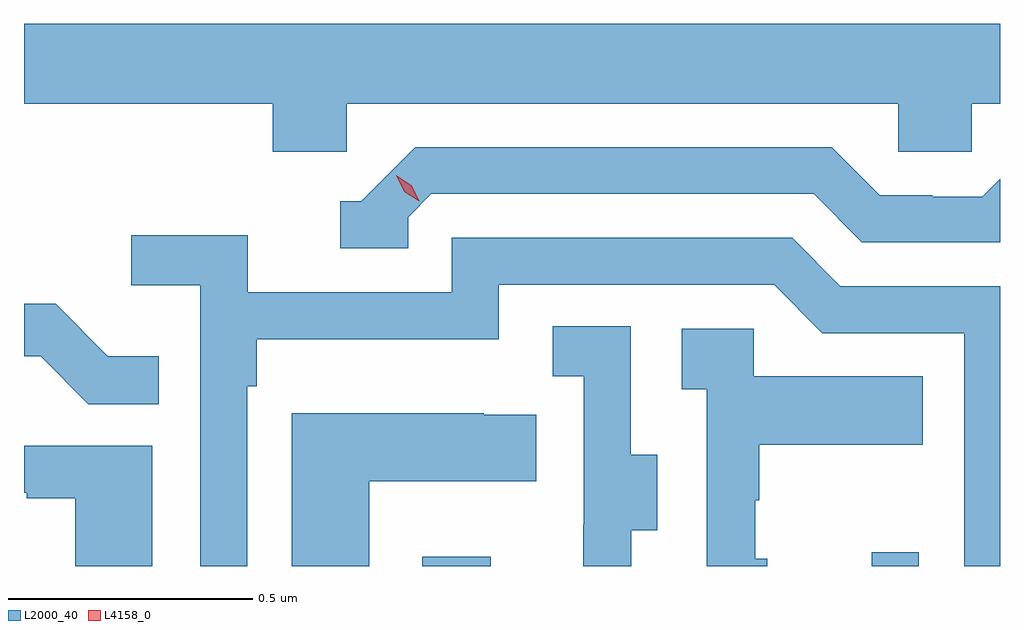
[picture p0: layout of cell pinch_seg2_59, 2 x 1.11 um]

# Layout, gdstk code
import gdstk
lib = gdstk.Library(unit=1e-6, precision=1e-09)
def R(c, l, rs):  # rectangles x0, y0, x1, y1
    for r in rs: c.add(gdstk.rectangle(r[:2], r[2:], *l))
def P(c, l, *ps):  # polygons
    for p in ps: c.add(gdstk.Polygon(p, *l))
L2000_40 = (2000, 40)
L4158_0 = (4158, 0)

pinch_seg2_59 = lib.new_cell('pinch_seg2_59')
R(pinch_seg2_59, L2000_40, [(1029.191,662.672,1029.331,662.692), (1030.112,662.672,1030.209,662.701)])
P(pinch_seg2_59, L2000_40, [(1029.036,663.62),(1030.167,663.62),(1030.167,663.522),(1030.317,663.522),(1030.317,663.62),(1030.375,663.62),(1030.375,663.784),(1028.375,663.784),(1028.375,663.62),(1028.885,663.62),(1028.885,663.522),(1029.036,663.522)],
  [(1029.162,663.387),(1029.21,663.435),(1029.993,663.435),(1030.092,663.336),(1030.375,663.336),(1030.375,663.466),(1030.339,663.429),(1030.236,663.429),(1030.236,663.432),(1030.129,663.432),(1030.03,663.531),(1029.177,663.531),(1029.066,663.42),(1029.023,663.42),(1029.023,663.324),(1029.162,663.324)],
  [(1028.832,663.041),(1028.852,663.041),(1028.852,663.137),(1029.348,663.137),(1029.348,663.249),(1029.912,663.249),(1030.011,663.15),(1030.302,663.15),(1030.302,662.672),(1030.375,662.672),(1030.375,663.246),(1030.048,663.246),(1029.949,663.345),(1029.252,663.345),(1029.252,663.234),(1028.834,663.234),(1028.834,663.35),(1028.595,663.35),(1028.595,663.248),(1028.736,663.248),(1028.736,662.672),(1028.832,662.672)],
  [(1028.651,663.103),(1028.547,663.103),(1028.44,663.21),(1028.375,663.21),(1028.375,663.102),(1028.409,663.102),(1028.507,663.004),(1028.651,663.004)],
  [(1029.619,662.746),(1029.673,662.746),(1029.673,662.901),(1029.618,662.901),(1029.618,663.164),(1029.459,663.164),(1029.459,663.061),(1029.522,663.061),(1029.522,662.757),(1029.521,662.757),(1029.521,662.672),(1029.619,662.672)],
  [(1029.898,662.688),(1029.873,662.688),(1029.873,662.807),(1029.882,662.807),(1029.882,662.921),(1030.217,662.921),(1030.217,663.061),(1029.87,663.061),(1029.87,663.159),(1029.723,663.159),(1029.723,663.035),(1029.774,663.035),(1029.774,662.672),(1029.898,662.672)],
  [(1029.082,662.846),(1029.425,662.846),(1029.425,662.983),(1029.317,662.983),(1029.317,662.986),(1028.924,662.986),(1028.924,662.672),(1029.082,662.672)],
  [(1028.638,662.919),(1028.375,662.919),(1028.375,662.823),(1028.381,662.823),(1028.381,662.811),(1028.48,662.811),(1028.48,662.672),(1028.638,662.672)])
P(pinch_seg2_59, L4158_0, [(1029.185,663.42),(1029.154,663.44),(1029.138,663.472),(1029.138,663.473),(1029.138,663.473),(1029.169,663.453),(1029.185,663.421),(1029.185,663.42)])

lib.write_gds('pinch_seg2_59.gds')
